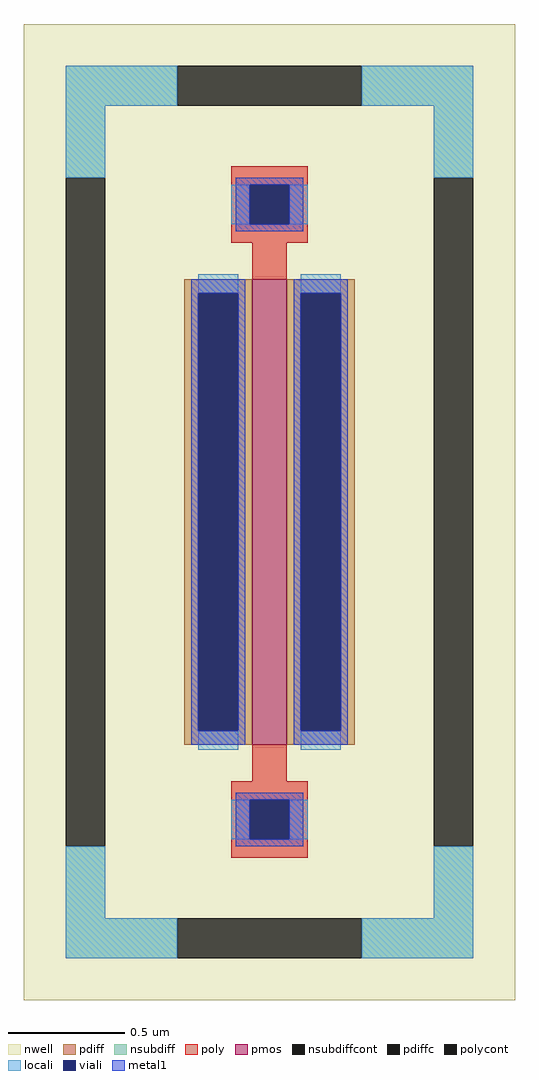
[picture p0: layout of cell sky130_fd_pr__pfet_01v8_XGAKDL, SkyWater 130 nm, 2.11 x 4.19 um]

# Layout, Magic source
magic
tech sky130A
magscale 1 2
<< nwell >>
rect -211 -419 211 419
<< pmos >>
rect -15 -200 15 200
<< pdiff >>
rect -73 188 -15 200
rect -73 -188 -61 188
rect -27 -188 -15 188
rect -73 -200 -15 -188
rect 15 188 73 200
rect 15 -188 27 188
rect 61 -188 73 188
rect 15 -200 73 -188
<< pdiffc >>
rect -61 -188 -27 188
rect 27 -188 61 188
<< nsubdiff >>
rect -175 349 -79 383
rect 79 349 175 383
rect -175 287 -141 349
rect 141 287 175 349
rect -175 -349 -141 -287
rect 141 -349 175 -287
rect -175 -383 -79 -349
rect 79 -383 175 -349
<< nsubdiffcont >>
rect -79 349 79 383
rect -175 -287 -141 287
rect 141 -287 175 287
rect -79 -383 79 -349
<< poly >>
rect -33 281 33 297
rect -33 247 -17 281
rect 17 247 33 281
rect -33 231 33 247
rect -15 200 15 231
rect -15 -231 15 -200
rect -33 -247 33 -231
rect -33 -281 -17 -247
rect 17 -281 33 -247
rect -33 -297 33 -281
<< polycont >>
rect -17 247 17 281
rect -17 -281 17 -247
<< locali >>
rect -175 349 -79 383
rect 79 349 175 383
rect -175 287 -141 349
rect 141 287 175 349
rect -33 247 -17 281
rect 17 247 33 281
rect -61 188 -27 204
rect -61 -204 -27 -188
rect 27 188 61 204
rect 27 -204 61 -188
rect -33 -281 -17 -247
rect 17 -281 33 -247
rect -175 -349 -141 -287
rect 141 -349 175 -287
rect -175 -383 -79 -349
rect 79 -383 175 -349
<< viali >>
rect -17 247 17 281
rect -61 -188 -27 188
rect 27 -188 61 188
rect -17 -281 17 -247
<< metal1 >>
rect -29 281 29 287
rect -29 247 -17 281
rect 17 247 29 281
rect -29 241 29 247
rect -67 188 -21 200
rect -67 -188 -61 188
rect -27 -188 -21 188
rect -67 -200 -21 -188
rect 21 188 67 200
rect 21 -188 27 188
rect 61 -188 67 188
rect 21 -200 67 -188
rect -29 -247 29 -241
rect -29 -281 -17 -247
rect 17 -281 29 -247
rect -29 -287 29 -281
<< properties >>
string FIXED_BBOX -158 -366 158 366
string gencell sky130_fd_pr__pfet_01v8
string library sky130
string parameters w 2.0 l 0.15 m 1 nf 1 diffcov 100 polycov 100 guard 1 glc 1 grc 1 gtc 1 gbc 1 tbcov 100 rlcov 100 topc 1 botc 1 poverlap 0 doverlap 1 lmin 0.15 wmin 0.42 compatible {sky130_fd_pr__pfet_01v8  sky130_fd_pr__pfet_01v8_lvt sky130_fd_pr__pfet_01v8_hvt  sky130_fd_pr__pfet_g5v0d10v5} full_metal 1 viasrc 100 viadrn 100 viagate 100 viagb 0 viagr 0 viagl 0 viagt 0
<< end >>
